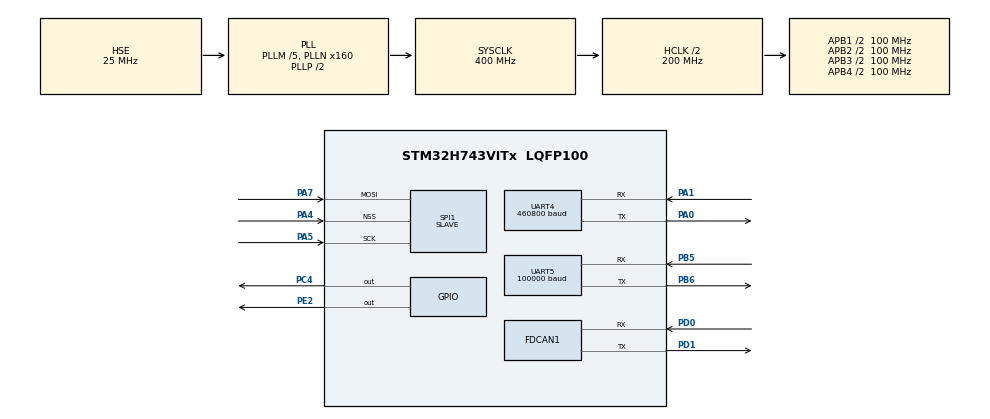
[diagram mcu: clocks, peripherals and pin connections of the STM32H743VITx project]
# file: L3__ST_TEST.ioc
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CORTEX_M7.AccessPermission_Spec=MPU_REGION_FULL_ACCESS
CORTEX_M7.BaseAddress_Spec=0x24000000
CORTEX_M7.CPU_DCache=Enabled
CORTEX_M7.CPU_ICache=Enabled
CORTEX_M7.IsShareable_Spec=MPU_ACCESS_NOT_SHAREABLE
CORTEX_M7.Size_Spec=MPU_REGION_SIZE_512KB
CORTEX_M7.SubRegionDisable_Spec=0x00
CORTEX_M7.TypeExtField_Spec=MPU_TEX_LEVEL1
CORTEX_M7.default_mode_Activation=1
Dma.Request0=SPI1_RX
Dma.Request1=UART4_RX
Dma.Request2=UART4_TX
Dma.Request3=UART5_RX
Dma.SPI1_RX.0.Direction=DMA_PERIPH_TO_MEMORY
Dma.SPI1_RX.0.EventEnable=DISABLE
Dma.SPI1_RX.0.FIFOMode=DMA_FIFOMODE_DISABLE
Dma.SPI1_RX.0.Instance=DMA2_Stream0
Dma.SPI1_RX.0.MemDataAlignment=DMA_MDATAALIGN_BYTE
Dma.SPI1_RX.0.MemInc=DMA_MINC_ENABLE
Dma.SPI1_RX.0.Mode=DMA_NORMAL
Dma.SPI1_RX.0.PeriphDataAlignment=DMA_PDATAALIGN_BYTE
Dma.SPI1_RX.0.PeriphInc=DMA_PINC_DISABLE
Dma.SPI1_RX.0.Polarity=HAL_DMAMUX_REQ_GEN_RISING
Dma.SPI1_RX.0.Priority=DMA_PRIORITY_VERY_HIGH
Dma.SPI1_RX.0.RequestNumber=1
Dma.SPI1_RX.0.SignalID=NONE
Dma.SPI1_RX.0.SyncEnable=DISABLE
Dma.SPI1_RX.0.SyncPolarity=HAL_DMAMUX_SYNC_NO_EVENT
Dma.SPI1_RX.0.SyncRequestNumber=1
Dma.SPI1_RX.0.SyncSignalID=NONE
Dma.UART4_RX.1.Direction=DMA_PERIPH_TO_MEMORY
Dma.UART4_RX.1.EventEnable=DISABLE
Dma.UART4_RX.1.FIFOMode=DMA_FIFOMODE_DISABLE
Dma.UART4_RX.1.Instance=DMA1_Stream0
Dma.UART4_RX.1.MemDataAlignment=DMA_MDATAALIGN_BYTE
Dma.UART4_RX.1.MemInc=DMA_MINC_ENABLE
Dma.UART4_RX.1.Mode=DMA_NORMAL
Dma.UART4_RX.1.PeriphDataAlignment=DMA_PDATAALIGN_BYTE
Dma.UART4_RX.1.PeriphInc=DMA_PINC_DISABLE
Dma.UART4_RX.1.Polarity=HAL_DMAMUX_REQ_GEN_RISING
Dma.UART4_RX.1.Priority=DMA_PRIORITY_LOW
Dma.UART4_RX.1.RequestNumber=1
Dma.UART4_RX.1.SignalID=NONE
Dma.UART4_RX.1.SyncEnable=DISABLE
Dma.UART4_RX.1.SyncPolarity=HAL_DMAMUX_SYNC_NO_EVENT
Dma.UART4_RX.1.SyncRequestNumber=1
Dma.UART4_RX.1.SyncSignalID=NONE
Dma.UART4_TX.2.Direction=DMA_MEMORY_TO_PERIPH
Dma.UART4_TX.2.EventEnable=DISABLE
Dma.UART4_TX.2.FIFOMode=DMA_FIFOMODE_DISABLE
Dma.UART4_TX.2.Instance=DMA1_Stream1
Dma.UART4_TX.2.MemDataAlignment=DMA_MDATAALIGN_BYTE
Dma.UART4_TX.2.MemInc=DMA_MINC_ENABLE
Dma.UART4_TX.2.Mode=DMA_NORMAL
Dma.UART4_TX.2.PeriphDataAlignment=DMA_PDATAALIGN_BYTE
Dma.UART4_TX.2.PeriphInc=DMA_PINC_DISABLE
Dma.UART4_TX.2.Polarity=HAL_DMAMUX_REQ_GEN_RISING
Dma.UART4_TX.2.Priority=DMA_PRIORITY_LOW
Dma.UART4_TX.2.RequestNumber=1
Dma.UART4_TX.2.SignalID=NONE
Dma.UART4_TX.2.SyncEnable=DISABLE
Dma.UART4_TX.2.SyncPolarity=HAL_DMAMUX_SYNC_NO_EVENT
Dma.UART4_TX.2.SyncRequestNumber=1
Dma.UART4_TX.2.SyncSignalID=NONE
Dma.UART5_RX.3.Direction=DMA_PERIPH_TO_MEMORY
Dma.UART5_RX.3.EventEnable=DISABLE
Dma.UART5_RX.3.FIFOMode=DMA_FIFOMODE_DISABLE
Dma.UART5_RX.3.Instance=DMA1_Stream2
Dma.UART5_RX.3.MemDataAlignment=DMA_MDATAALIGN_BYTE
Dma.UART5_RX.3.MemInc=DMA_MINC_ENABLE
Dma.UART5_RX.3.Mode=DMA_NORMAL
Dma.UART5_RX.3.PeriphDataAlignment=DMA_PDATAALIGN_BYTE
Dma.UART5_RX.3.PeriphInc=DMA_PINC_DISABLE
Dma.UART5_RX.3.Polarity=HAL_DMAMUX_REQ_GEN_RISING
Dma.UART5_RX.3.Priority=DMA_PRIORITY_LOW
Dma.UART5_RX.3.RequestNumber=1
Dma.UART5_RX.3.SignalID=NONE
Dma.UART5_RX.3.SyncEnable=DISABLE
Dma.UART5_RX.3.SyncPolarity=HAL_DMAMUX_SYNC_NO_EVENT
Dma.UART5_RX.3.SyncRequestNumber=1
Dma.UART5_RX.3.SyncSignalID=NONE
FDCAN1.AutoRetransmission=ENABLE
FDCAN1.CalculateBaudRateNominal=250000
FDCAN1.CalculateTimeBitNominal=4000
FDCAN1.CalculateTimeQuantumNominal=100.0
FDCAN1.DataPrescaler=10
FDCAN1.DataSyncJumpWidth=8
FDCAN1.DataTimeSeg1=31
FDCAN1.DataTimeSeg2=8
FDCAN1.NominalPrescaler=10
FDCAN1.NominalSyncJumpWidth=8
FDCAN1.NominalTimeSeg1=31
FDCAN1.NominalTimeSeg2=8
FDCAN1.ProtocolException=ENABLE
FDCAN1.RxFifo0ElmtsNbr=1
FDCAN1.StdFiltersNbr=1
FDCAN1.TxBuffersNbr=1
FDCAN1.TxEventsNbr=16
FDCAN1.TxFifoQueueElmtsNbr=1
FREERTOS.BinarySemaphores01=APP_Info_Submit_Semp,Dynamic,NULL;GPS_rec_exec_semp,Dynamic,NULL
FREERTOS.CountingSemaphores01=SBUS_RUN_Semp,15,Dynamic,NULL;CAN_send_semp,15,Dynamic,NULL
FREERTOS.Events01=Device_Run_status_event,Dynamic,NULL;Device_unusual_status_event,Dynamic,NULL
FREERTOS.INCLUDE_xEventGroupSetBitFromISR=1
FREERTOS.Queues01=uart5_recv_semp_queue,30,uint16_t,0,Dynamic,NULL,NULL;uart4_send_semp_queue,15,uint16_t,0,Dynamic,NULL,NULL;uart4_recv_semp_queue,15,uint16_t,0,Dynamic,NULL,NULL;HTTP_REQUEST_queue,16,uint16_t,0,Dynamic,NULL,NULL;VCU_send_semp_queue,15,uint16_t,0,Dynamic,NULL,NULL;SPI1_recv_semp_queue,15,uint16_t,0,Dynamic,NULL,NULL
FREERTOS.Tasks01=defaultTask,8,128,StartDefaultTask,Default,NULL,Dynamic,NULL,NULL;Power_Check,8,128,Power_Check_task,Default,NULL,Dynamic,NULL,NULL;GPS_REC,24,128,GPS_REC_task,Default,NULL,Dynamic,NULL,NULL;SBUS_Parse,10,128,SBUS_Parse_task,Default,NULL,Dynamic,NULL,NULL;EC600U_REC,16,512,EC600U_REC_task,Default,NULL,Dynamic,NULL,NULL;HTTP_REQUEST,24,300,HTTP_REQUEST_task,Default,NULL,Dynamic,NULL,NULL;APP_Info_Submit,9,512,APP_Info_Submit_task,Default,NULL,Dynamic,NULL,NULL;Device_Run,9,1024,Device_Run_task,Default,NULL,Dynamic,NULL,NULL;Device_unusual,48,128,Device_unusual_task,Default,NULL,Dynamic,NULL,NULL;EC600U_SEND,8,128,EC600U_SEND_task,Default,NULL,Dynamic,NULL,NULL;VCU_send,8,128,VCU_send_task,Default,NULL,Dynamic,NULL,NULL
FREERTOS.configTOTAL_HEAP_SIZE=25600
Mcu.Family=STM32H7
Mcu.Name=STM32H743VITx
Mcu.Package=LQFP100
NVIC.DMA1_Stream0_IRQn=true\:6\:0\:true\:false\:true\:true\:false\:true\:true
NVIC.DMA1_Stream1_IRQn=true\:6\:0\:true\:false\:true\:true\:false\:true\:true
NVIC.DMA1_Stream2_IRQn=true\:6\:0\:true\:false\:true\:true\:false\:true\:true
NVIC.DMA2_Stream0_IRQn=true\:5\:0\:false\:false\:true\:true\:false\:true\:true
NVIC.FDCAN1_IT0_IRQn=true\:10\:0\:true\:false\:true\:true\:true\:true\:true
NVIC.PriorityGroup=NVIC_PRIORITYGROUP_4
NVIC.SPI1_IRQn=true\:5\:0\:false\:false\:true\:true\:false\:true\:true
NVIC.TIM6_DAC_IRQn=true\:14\:0\:true\:false\:true\:true\:true\:true\:true
NVIC.TIM7_IRQn=true\:15\:0\:false\:false\:true\:false\:false\:true\:true
NVIC.TimeBase=TIM7_IRQn
NVIC.TimeBaseIP=TIM7
NVIC.UART4_IRQn=true\:8\:0\:true\:false\:true\:true\:true\:true\:true
NVIC.UART5_IRQn=true\:6\:0\:true\:false\:true\:true\:true\:true\:true
PA0.Mode=Asynchronous
PA0.Signal=UART4_TX
PA1.Mode=Asynchronous
PA1.Signal=UART4_RX
PA13\ (JTMS/SWDIO).Mode=Serial_Wire
PA13\ (JTMS/SWDIO).Signal=DEBUG_JTMS-SWDIO
PA14\ (JTCK/SWCLK).Mode=Serial_Wire
PA14\ (JTCK/SWCLK).Signal=DEBUG_JTCK-SWCLK
PA4.Mode=NSS_Signal_Hard_Input
PA4.Signal=SPI1_NSS
PA5.Mode=RX_Only_Simplex_Unidirect_Slave
PA5.Signal=SPI1_SCK
PA7.Mode=RX_Only_Simplex_Unidirect_Slave
PA7.Signal=SPI1_MOSI
PB5.Mode=Asynchronous
PB5.Signal=UART5_RX
PB6.Mode=Asynchronous
PB6.Signal=UART5_TX
PC14-OSC32_IN\ (OSC32_IN).Mode=LSE-External-Oscillator
PC14-OSC32_IN\ (OSC32_IN).Signal=RCC_OSC32_IN
PC15-OSC32_OUT\ (OSC32_OUT).Mode=LSE-External-Oscillator
PC15-OSC32_OUT\ (OSC32_OUT).Signal=RCC_OSC32_OUT
PC4.Signal=GPIO_Output
PD0.Mode=FDCAN_Activate
PD0.Signal=FDCAN1_RX
PD1.Mode=FDCAN_Activate
PD1.Signal=FDCAN1_TX
PE2.Signal=GPIO_Output
PH0-OSC_IN\ (PH0).Mode=HSE-External-Oscillator
PH0-OSC_IN\ (PH0).Signal=RCC_OSC_IN
PH1-OSC_OUT\ (PH1).Mode=HSE-External-Oscillator
PH1-OSC_OUT\ (PH1).Signal=RCC_OSC_OUT
ProjectManager.HeapSize=0x200
ProjectManager.StackSize=0x400
ProjectManager.TargetToolchain=MDK-ARM V5.32
RCC.ADCFreq_Value=50390625
RCC.APB1Freq_Value=100000000
RCC.APB2Freq_Value=100000000
RCC.APB3Freq_Value=100000000
RCC.APB4Freq_Value=100000000
RCC.CortexFreq_Value=400000000
RCC.D1PPRE=RCC_APB3_DIV2
RCC.D2PPRE1=RCC_APB1_DIV2
RCC.D2PPRE2=RCC_APB2_DIV2
RCC.D3PPRE=RCC_APB4_DIV2
RCC.DIVM1=5
RCC.DIVN1=160
RCC.DIVQ1=8
RCC.HCLKFreq_Value=200000000
RCC.HPRE=RCC_HCLK_DIV2
RCC.PLLSourceVirtual=RCC_PLLSOURCE_HSE
RCC.SYSCLKFreq_VALUE=400000000
RCC.SYSCLKSource=RCC_SYSCLKSOURCE_PLLCLK
RCC.USBFreq_Value=100000000
SPI1.DataSize=SPI_DATASIZE_8BIT
SPI1.Direction=SPI_DIRECTION_2LINES_RXONLY
SPI1.FifoThreshold=SPI_FIFO_THRESHOLD_16DATA
SPI1.Mode=SPI_MODE_SLAVE
SPI1.VirtualNSS=VM_NSSHARD
SPI1.VirtualType=VM_SLAVE
TIM6.Period=5000-1
TIM6.Prescaler=40000-1
UART4.BaudRate=460800
UART5.BaudRate=100000
UART5.Mode=MODE_RX
UART5.Parity=PARITY_EVEN
UART5.RxPinLevelInvertParam=UART_ADVFEATURE_RXINV_ENABLE
UART5.StopBits=UART_STOPBITS_2
UART5.WordLength=WORDLENGTH_9B
VP_FREERTOS_VS_CMSIS_V2.Mode=CMSIS_V2
VP_SYS_VS_tim7.Mode=TIM7
VP_TIM6_VS_ClockSourceINT.Mode=Enable_Timer
board=custom

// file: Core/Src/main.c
/* USER CODE BEGIN Header */
/**
  ******************************************************************************
  * @file           : main.c
  * @brief          : Main program body
  ******************************************************************************
  * @attention
  *
  * Copyright (c) 2024 STMicroelectronics.
  * All rights reserved.
  *
  * This software is licensed under terms that can be found in the LICENSE file
  * in the root directory of this software component.
  * If no LICENSE file comes with this software, it is provided AS-IS.
  *
  ******************************************************************************
  */
/* USER CODE END Header */
#include "main.h"
#include "cmsis_os.h"
#include "dma.h"
#include "fdcan.h"
#include "spi.h"
#include "tim.h"
#include "usart.h"
#include "gpio.h"

/* USER CODE BEGIN Includes */
#include "EventRecorder.h"

#include "deal_string.h"
#include "WGS84ToAngle.h"
/* USER CODE END Includes */

/* USER CODE BEGIN PV */
extern osSemaphoreId_t APP_Info_Submit_SempHandle;
/* USER CODE END PV */

void SystemClock_Config(void);
static void MPU_Config(void);
void MX_FREERTOS_Init(void);

int main(void)
{

  /* MPU Configuration--------------------------------------------------------*/
  MPU_Config();
/* Enable the CPU Cache */

  /* Enable I-Cache---------------------------------------------------------*/
  SCB_EnableICache();

  /* Enable D-Cache---------------------------------------------------------*/
  SCB_EnableDCache();

  /* MCU Configuration--------------------------------------------------------*/

  /* Reset of all peripherals, Initializes the Flash interface and the Systick. */
  HAL_Init();

  /* USER CODE BEGIN Init */
		/*初始化EventRecoder*/
	EventRecorderInitialize(EventRecordAll, 1U);
	EventRecorderStart();

	/*初始化cjson的内存分配函数 使用json一定要初始化*/
	cJSON_InitHooks(&my_cJSON_Hooks);

		/*初始化geidesic库系数*/
	geod_init(&g, wgs84_a, wgs84_f);

  /* USER CODE END Init */

  /* Configure the system clock */
  SystemClock_Config();

  /* Initialize all configured peripherals */
  MX_GPIO_Init();
  MX_DMA_Init();
  MX_FDCAN1_Init();
  MX_SPI1_Init();
  MX_TIM6_Init();
  MX_UART4_Init();
  MX_UART5_Init();
  /* USER CODE BEGIN 2 */
printf("初始化完成\r\n");
  /* USER CODE END 2 */

  /* Init scheduler */
  osKernelInitialize();

  /* Call init function for freertos objects (in freertos.c) */
  MX_FREERTOS_Init();

  /* Start scheduler */
  osKernelStart();

  /* We should never get here as control is now taken by the scheduler */
  /* Infinite loop */
  while (1)
  {

  }
}

void SystemClock_Config(void)
{
  RCC_OscInitTypeDef RCC_OscInitStruct = {0};
  RCC_ClkInitTypeDef RCC_ClkInitStruct = {0};

  /** Supply configuration update enable
  */
  HAL_PWREx_ConfigSupply(PWR_LDO_SUPPLY);

  /** Configure the main internal regulator output voltage
  */
  __HAL_PWR_VOLTAGESCALING_CONFIG(PWR_REGULATOR_VOLTAGE_SCALE1);

  while(!__HAL_PWR_GET_FLAG(PWR_FLAG_VOSRDY)) {}

  /** Initializes the RCC Oscillators according to the specified parameters
  * in the RCC_OscInitTypeDef structure.
  */
  RCC_OscInitStruct.OscillatorType = RCC_OSCILLATORTYPE_HSE;
  RCC_OscInitStruct.HSEState = RCC_HSE_ON;
  RCC_OscInitStruct.PLL.PLLState = RCC_PLL_ON;
  RCC_OscInitStruct.PLL.PLLSource = RCC_PLLSOURCE_HSE;
  RCC_OscInitStruct.PLL.PLLM = 5;
  RCC_OscInitStruct.PLL.PLLN = 160;
  RCC_OscInitStruct.PLL.PLLP = 2;
  RCC_OscInitStruct.PLL.PLLQ = 8;
  RCC_OscInitStruct.PLL.PLLR = 2;
  RCC_OscInitStruct.PLL.PLLRGE = RCC_PLL1VCIRANGE_2;
  RCC_OscInitStruct.PLL.PLLVCOSEL = RCC_PLL1VCOWIDE;
  RCC_OscInitStruct.PLL.PLLFRACN = 0;
  if (HAL_RCC_OscConfig(&RCC_OscInitStruct) != HAL_OK)
  {
    Error_Handler();
  }

  /** Initializes the CPU, AHB and APB buses clocks
  */
  RCC_ClkInitStruct.ClockType = RCC_CLOCKTYPE_HCLK|RCC_CLOCKTYPE_SYSCLK
                              |RCC_CLOCKTYPE_PCLK1|RCC_CLOCKTYPE_PCLK2
                              |RCC_CLOCKTYPE_D3PCLK1|RCC_CLOCKTYPE_D1PCLK1;
  RCC_ClkInitStruct.SYSCLKSource = RCC_SYSCLKSOURCE_PLLCLK;
  RCC_ClkInitStruct.SYSCLKDivider = RCC_SYSCLK_DIV1;
  RCC_ClkInitStruct.AHBCLKDivider = RCC_HCLK_DIV2;
  RCC_ClkInitStruct.APB3CLKDivider = RCC_APB3_DIV2;
  RCC_ClkInitStruct.APB1CLKDivider = RCC_APB1_DIV2;
  RCC_ClkInitStruct.APB2CLKDivider = RCC_APB2_DIV2;
  RCC_ClkInitStruct.APB4CLKDivider = RCC_APB4_DIV2;

  if (HAL_RCC_ClockConfig(&RCC_ClkInitStruct, FLASH_LATENCY_2) != HAL_OK)
  {
    Error_Handler();
  }
}

/* MPU Configuration */

void MPU_Config(void)
{
  MPU_Region_InitTypeDef MPU_InitStruct = {0};

  /* Disables the MPU */
  HAL_MPU_Disable();

  /** Initializes and configures the Region and the memory to be protected
  */
  MPU_InitStruct.Enable = MPU_REGION_ENABLE;
  MPU_InitStruct.Number = MPU_REGION_NUMBER0;
  MPU_InitStruct.BaseAddress = 0x24000000;
  MPU_InitStruct.Size = MPU_REGION_SIZE_512KB;
  MPU_InitStruct.SubRegionDisable = 0x00;
  MPU_InitStruct.TypeExtField = MPU_TEX_LEVEL1;
  MPU_InitStruct.AccessPermission = MPU_REGION_FULL_ACCESS;
  MPU_InitStruct.DisableExec = MPU_INSTRUCTION_ACCESS_DISABLE;
  MPU_InitStruct.IsShareable = MPU_ACCESS_NOT_SHAREABLE;
  MPU_InitStruct.IsCacheable = MPU_ACCESS_NOT_CACHEABLE;
  MPU_InitStruct.IsBufferable = MPU_ACCESS_NOT_BUFFERABLE;

  HAL_MPU_ConfigRegion(&MPU_InitStruct);
  /* Enables the MPU */
  HAL_MPU_Enable(MPU_PRIVILEGED_DEFAULT);

}

void HAL_TIM_PeriodElapsedCallback(TIM_HandleTypeDef *htim)
{
  if (htim->Instance == TIM7) {
    HAL_IncTick();
  }
  /* USER CODE BEGIN Callback 1 */
  if (htim->Instance == TIM6) {
		if(osSemaphoreGetCount (APP_Info_Submit_SempHandle)<1) osSemaphoreRelease(APP_Info_Submit_SempHandle);
	}
  /* USER CODE END Callback 1 */
}

void Error_Handler(void)
{
  __disable_irq();
  while (1)
  {
  }
}

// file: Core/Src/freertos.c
/* USER CODE BEGIN Header */
/**
  ******************************************************************************
  * File Name          : freertos.c
  * Description        : Code for freertos applications
  ******************************************************************************
  * @attention
  *
  * Copyright (c) 2024 STMicroelectronics.
  * All rights reserved.
  *
  * This software is licensed under terms that can be found in the LICENSE file
  * in the root directory of this software component.
  * If no LICENSE file comes with this software, it is provided AS-IS.
  *
  ******************************************************************************
  */
/* USER CODE END Header */

#include "FreeRTOS.h"
#include "task.h"
#include "main.h"
#include "cmsis_os.h"

/* USER CODE BEGIN Includes */
#include "usart.h"
#include "fdcan.h"
#include "tim.h"
#include "spi.h"

#include "sbus.h"
#include "nav.h"
#include "motor.h"
#include "uart_data.h"
#include "change_status.h"

extern uint8_t power_count; //用于EC600U上电记次数使用
/* USER CODE END Includes */

/* USER CODE BEGIN PTD */

cJSON * EC600U_MQTT_SEND_STATUS;

uint32_t GPS_REC_block_time    = portMAX_DELAY;
uint32_t EC600U_REC_block_time = portMAX_DELAY;
uint32_t APP_Info_Submit_time  = portMAX_DELAY;
uint32_t Device_unusual_time   = portMAX_DELAY;

/* USER CODE END PTD */

/* Definitions for defaultTask */
osThreadId_t defaultTaskHandle;
const osThreadAttr_t defaultTask_attributes = {
  .name = "defaultTask",
  .stack_size = 128 * 4,
  .priority = (osPriority_t) osPriorityLow,
};
/* Definitions for Power_Check */
osThreadId_t Power_CheckHandle;
const osThreadAttr_t Power_Check_attributes = {
  .name = "Power_Check",
  .stack_size = 128 * 4,
  .priority = (osPriority_t) osPriorityLow6,
};
/* Definitions for GPS_REC */
osThreadId_t GPS_RECHandle;
const osThreadAttr_t GPS_REC_attributes = {
  .name = "GPS_REC",
  .stack_size = 128 * 4,
  .priority = (osPriority_t) osPriorityNormal1,
};
/* Definitions for SBUS_Parse */
osThreadId_t SBUS_ParseHandle;
const osThreadAttr_t SBUS_Parse_attributes = {
  .name = "SBUS_Parse",
  .stack_size = 128 * 4,
  .priority = (osPriority_t) osPriorityNormal,
};
/* Definitions for EC600U_REC */
osThreadId_t EC600U_RECHandle;
const osThreadAttr_t EC600U_REC_attributes = {
  .name = "EC600U_REC",
  .stack_size = 600 * 4,
  .priority = (osPriority_t) osPriorityNormal1,
};
/* Definitions for HTTP_REQUEST */
osThreadId_t HTTP_REQUESTHandle;
const osThreadAttr_t HTTP_REQUEST_attributes = {
  .name = "HTTP_REQUEST",
  .stack_size = 400 * 4,
  .priority = (osPriority_t) osPriorityBelowNormal,
};
/* Definitions for APP_Info_Submit */
osThreadId_t APP_Info_SubmitHandle;
const osThreadAttr_t APP_Info_Submit_attributes = {
  .name = "APP_Info_Submit",
  .stack_size = 512 * 4,
  .priority = (osPriority_t) osPriorityLow7,
};
/* Definitions for Device_Run */
osThreadId_t Device_RunHandle;
const osThreadAttr_t Device_Run_attributes = {
  .name = "Device_Run",
  .stack_size = 1024 * 4,
  .priority = (osPriority_t) osPriorityBelowNormal1,
};
/* Definitions for Device_unusual */
osThreadId_t Device_unusualHandle;
const osThreadAttr_t Device_unusual_attributes = {
  .name = "Device_unusual",
  .stack_size = 128 * 4,
  .priority = (osPriority_t) osPriorityRealtime,
};
/* Definitions for EC600U_SEND */
osThreadId_t EC600U_SENDHandle;
const osThreadAttr_t EC600U_SEND_attributes = {
  .name = "EC600U_SEND",
  .stack_size = 128 * 4,
  .priority = (osPriority_t) osPriorityLow4,
};
/* Definitions for VCU_send */
osThreadId_t VCU_sendHandle;
const osThreadAttr_t VCU_send_attributes = {
  .name = "VCU_send",
  .stack_size = 128 * 4,
  .priority = (osPriority_t) osPriorityLow7,
};
/* Definitions for uart5_recv_semp_queue */
osMessageQueueId_t uart5_recv_semp_queueHandle;
const osMessageQueueAttr_t uart5_recv_semp_queue_attributes = {
  .name = "uart5_recv_semp_queue"
};
/* Definitions for uart4_send_semp_queue */
osMessageQueueId_t uart4_send_semp_queueHandle;
const osMessageQueueAttr_t uart4_send_semp_queue_attributes = {
  .name = "uart4_send_semp_queue"
};
/* Definitions for uart4_recv_semp_queue */
osMessageQueueId_t uart4_recv_semp_queueHandle;
const osMessageQueueAttr_t uart4_recv_semp_queue_attributes = {
  .name = "uart4_recv_semp_queue"
};
/* Definitions for HTTP_REQUEST_queue */
osMessageQueueId_t HTTP_REQUEST_queueHandle;
const osMessageQueueAttr_t HTTP_REQUEST_queue_attributes = {
  .name = "HTTP_REQUEST_queue"
};
/* Definitions for VCU_send_semp_queue */
osMessageQueueId_t VCU_send_semp_queueHandle;
const osMessageQueueAttr_t VCU_send_semp_queue_attributes = {
  .name = "VCU_send_semp_queue"
};
/* Definitions for SPI1_recv_semp_queue */
osMessageQueueId_t SPI1_recv_semp_queueHandle;
const osMessageQueueAttr_t SPI1_recv_semp_queue_attributes = {
  .name = "SPI1_recv_semp_queue"
};
/* Definitions for APP_Info_Submit_Semp */
osSemaphoreId_t APP_Info_Submit_SempHandle;
const osSemaphoreAttr_t APP_Info_Submit_Semp_attributes = {
  .name = "APP_Info_Submit_Semp"
};
/* Definitions for GPS_rec_exec_semp */
osSemaphoreId_t GPS_rec_exec_sempHandle;
const osSemaphoreAttr_t GPS_rec_exec_semp_attributes = {
  .name = "GPS_rec_exec_semp"
};
/* Definitions for SBUS_RUN_Semp */
osSemaphoreId_t SBUS_RUN_SempHandle;
const osSemaphoreAttr_t SBUS_RUN_Semp_attributes = {
  .name = "SBUS_RUN_Semp"
};
/* Definitions for CAN_send_semp */
osSemaphoreId_t CAN_send_sempHandle;
const osSemaphoreAttr_t CAN_send_semp_attributes = {
  .name = "CAN_send_semp"
};
/* Definitions for Device_Run_status_event */
osEventFlagsId_t Device_Run_status_eventHandle;
const osEventFlagsAttr_t Device_Run_status_event_attributes = {
  .name = "Device_Run_status_event"
};
/* Definitions for Device_unusual_status_event */
osEventFlagsId_t Device_unusual_status_eventHandle;
const osEventFlagsAttr_t Device_unusual_status_event_attributes = {
  .name = "Device_unusual_status_event"
};

void StartDefaultTask(void *argument);
void Power_Check_task(void *argument);
void GPS_REC_task(void *argument);
void SBUS_Parse_task(void *argument);
void EC600U_REC_task(void *argument);
void HTTP_REQUEST_task(void *argument);
void APP_Info_Submit_task(void *argument);
void Device_Run_task(void *argument);
void Device_unusual_task(void *argument);
void EC600U_SEND_task(void *argument);
void VCU_send_task(void *argument);

void MX_FREERTOS_Init(void); /* (MISRA C 2004 rule 8.1) */

void MX_FREERTOS_Init(void) {

  /* Create the semaphores(s) */
  /* creation of APP_Info_Submit_Semp */
  APP_Info_Submit_SempHandle = osSemaphoreNew(1, 0, &APP_Info_Submit_Semp_attributes);

  /* creation of GPS_rec_exec_semp */
  GPS_rec_exec_sempHandle = osSemaphoreNew(1, 0, &GPS_rec_exec_semp_attributes);

  /* creation of SBUS_RUN_Semp */
  SBUS_RUN_SempHandle = osSemaphoreNew(15, 0, &SBUS_RUN_Semp_attributes);

  /* creation of CAN_send_semp */
  CAN_send_sempHandle = osSemaphoreNew(15, 0, &CAN_send_semp_attributes);

  /* Create the queue(s) */
  /* creation of uart5_recv_semp_queue */
  uart5_recv_semp_queueHandle = osMessageQueueNew (30, sizeof(uint16_t), &uart5_recv_semp_queue_attributes);

  /* creation of uart4_send_semp_queue */
  uart4_send_semp_queueHandle = osMessageQueueNew (15, sizeof(uint16_t), &uart4_send_semp_queue_attributes);

  /* creation of uart4_recv_semp_queue */
  uart4_recv_semp_queueHandle = osMessageQueueNew (15, sizeof(uint16_t), &uart4_recv_semp_queue_attributes);

  /* creation of HTTP_REQUEST_queue */
  HTTP_REQUEST_queueHandle = osMessageQueueNew (16, sizeof(uint16_t), &HTTP_REQUEST_queue_attributes);

  /* creation of VCU_send_semp_queue */
  VCU_send_semp_queueHandle = osMessageQueueNew (15, sizeof(uint16_t), &VCU_send_semp_queue_attributes);

  /* creation of SPI1_recv_semp_queue */
  SPI1_recv_semp_queueHandle = osMessageQueueNew (15, sizeof(uint16_t), &SPI1_recv_semp_queue_attributes);

  /* Create the thread(s) */
  /* creation of defaultTask */
  defaultTaskHandle = osThreadNew(StartDefaultTask, NULL, &defaultTask_attributes);

  /* creation of Power_Check */
  Power_CheckHandle = osThreadNew(Power_Check_task, NULL, &Power_Check_attributes);

  /* creation of GPS_REC */
  GPS_RECHandle = osThreadNew(GPS_REC_task, NULL, &GPS_REC_attributes);

  /* creation of SBUS_Parse */
  SBUS_ParseHandle = osThreadNew(SBUS_Parse_task, NULL, &SBUS_Parse_attributes);

  /* creation of EC600U_REC */
  EC600U_RECHandle = osThreadNew(EC600U_REC_task, NULL, &EC600U_REC_attributes);

  /* creation of HTTP_REQUEST */
  HTTP_REQUESTHandle = osThreadNew(HTTP_REQUEST_task, NULL, &HTTP_REQUEST_attributes);

  /* creation of APP_Info_Submit */
  APP_Info_SubmitHandle = osThreadNew(APP_Info_Submit_task, NULL, &APP_Info_Submit_attributes);

  /* creation of Device_Run */
  Device_RunHandle = osThreadNew(Device_Run_task, NULL, &Device_Run_attributes);

  /* creation of Device_unusual */
  Device_unusualHandle = osThreadNew(Device_unusual_task, NULL, &Device_unusual_attributes);

  /* creation of EC600U_SEND */
  EC600U_SENDHandle = osThreadNew(EC600U_SEND_task, NULL, &EC600U_SEND_attributes);

  /* creation of VCU_send */
  VCU_sendHandle = osThreadNew(VCU_send_task, NULL, &VCU_send_attributes);

  /* Create the event(s) */
  /* creation of Device_Run_status_event */
  Device_Run_status_eventHandle = osEventFlagsNew(&Device_Run_status_event_attributes);

  /* creation of Device_unusual_status_event */
  Device_unusual_status_eventHandle = osEventFlagsNew(&Device_unusual_status_event_attributes);

}

void StartDefaultTask(void *argument)
{
  /* USER CODE BEGIN StartDefaultTask */
//	uint32_t uxBits;
  /* Infinite loop */
  for(;;)
  {
//		uxBits = osEventFlagsWait(Device_Run_status_eventHandle,  BIT_1, osFlagsNoClear, portMAX_DELAY);

//		printf("run\r\n");
    osDelay(8000);
//		HTTP_updateRoute_Request();
  }
  /* USER CODE END StartDefaultTask */
}

void Power_Check_task(void *argument)
{
  /* USER CODE BEGIN Power_Check_task */
  /* Infinite loop */
  for(;;)
  {
		if(power_count == 0)
		{
			if(control_powerFlag == 1)
			{
				HAL_GPIO_WritePin(GPIOE,  GPIO_PIN_2, GPIO_PIN_SET);
				while(HAL_GPIO_ReadPin(GPIOE,  GPIO_PIN_2) != GPIO_PIN_SET);
				osDelay(8000);
				//开启串口空闲DMA空闲中断
				HAL_UARTEx_ReceiveToIdle_DMA(&huart4, UART4RxData[UART4_fifo.usRxWrite],UART4_Max_Rxbuf_size);
				HAL_SPI_Receive_DMA(&hspi1 , SPI1RxData[SPI1_fifo.usRxWrite] ,180 );
			  HAL_GPIO_WritePin(GPIOC,  GPIO_PIN_4, GPIO_PIN_SET);
				while(HAL_GPIO_ReadPin(GPIOC,  GPIO_PIN_4) != GPIO_PIN_SET);
			}
			else
			{
				HAL_GPIO_WritePin(GPIOC,  GPIO_PIN_4, GPIO_PIN_SET);
				while(HAL_GPIO_ReadPin(GPIOC,  GPIO_PIN_4) != GPIO_PIN_SET);
				osDelay(5000);
				HAL_GPIO_WritePin(GPIOC,  GPIO_PIN_4, GPIO_PIN_RESET);
				while(HAL_GPIO_ReadPin(GPIOC,  GPIO_PIN_4) != GPIO_PIN_RESET);
				HAL_GPIO_WritePin(GPIOE,  GPIO_PIN_2, GPIO_PIN_RESET);
				while(HAL_GPIO_ReadPin(GPIOE,  GPIO_PIN_2) != GPIO_PIN_RESET);
			}
			power_count++;
		}
    osDelay(100);
  }
  /* USER CODE END Power_Check_task */
}

void GPS_REC_task(void *argument)
{
  /* USER CODE BEGIN GPS_REC_task */
	osStatus_t err;
	uint32_t len = 0;

  /* Infinite loop */
  for(;;)
  {
		err = osMessageQueueGet (SPI1_recv_semp_queueHandle, &len, 0, GPS_REC_block_time); //调试阶段未使用，正式阶段将阻塞时间设置为1000
		if(err == osOK)
		{
			if(len != 0)
			{
//				printf("%s\r\n",SPI1RxData[SPI1_fifo.usRxRead]);

				SPI1_GPS_data(SPI1RxData[SPI1_fifo.usRxRead]);

				memset(SPI1RxData[SPI1_fifo.usRxRead],0,SPI1_Max_Rxbuf_size);
				if (++SPI1_fifo.usRxRead >= SPI1_fifo.usRxBufSize)
				{
					SPI1_fifo.usRxRead = 0;
				}
			}
			else  //说明只是为了来解除阻塞，以此判断是否超时
				printf("解除阻塞\r\n");
		}
		else
		{
//			if(Device_Poweron_status == Check_RTK || Device_Run_Status.Curstatus != Poweron)
//			{
				printf("接受RTK信息失败\r\n");
				HAL_TIM_Base_Stop_IT(&htim6);
				osEventFlagsClear(Device_Run_status_eventHandle,BIT_4);                //设置RTK消息丢失标志
				osEventFlagsClear(Device_Run_status_eventHandle,BIT_5);                //设置RTK消息丢失标志
				osEventFlagsSet(Device_unusual_status_eventHandle,BIT_2);              //触发异常
//			}
		}
    osDelay(1);
  }
  /* USER CODE END GPS_REC_task */
}

void SBUS_Parse_task(void *argument)
{
  /* USER CODE BEGIN SBUS_Parse_task */
	osStatus err;
	uint16_t Recv_Len;
	HAL_UARTEx_ReceiveToIdle_DMA(&huart5, UART5RxData[UART5_fifo.usRxWrite],UART5_Max_Rxbuf_size);
  /* Infinite loop */
  for(;;)
  {
		err = osMessageQueueGet (uart5_recv_semp_queueHandle, &Recv_Len, 0, 100);
		if(err == osOK)
		{
//			printf("%#x\r\n",UART5RxData[UART5_fifo.usRxRead][0]); //调试使用

			sbus_parse(UART5RxData[UART5_fifo.usRxRead],Recv_Len);

			memset(&UART5RxData[UART5_fifo.usRxRead],0,Recv_Len);
			if (++UART5_fifo.usRxRead >= UART5_fifo.usRxBufSize)
			{
				UART5_fifo.usRxRead = 0;
			}
		}
		else
		{
			SBUS_CH.Start = 0;
//			printf("SBUS信号丢失\r\n");
		}
		osDelay(1);
  }
  /* USER CODE END SBUS_Parse_task */
}

void EC600U_REC_task(void *argument)
{
  /* USER CODE BEGIN EC600U_REC_task */
		osStatus_t err;
	uint16_t Recv_Len;
	uint32_t BIT = 0;
  /* Infinite loop */
  for(;;)
  {
		err = osMessageQueueGet (uart4_recv_semp_queueHandle, &Recv_Len, 0, EC600U_REC_block_time);
		if(err == osOK)
		{
			if(Recv_Len != 0) //说明串口发送来的数据
			{
//				printf("%s\r\n",UART4RxData[UART4_fifo.usRxRead]);
				uart4_rec_data_apply(UART4RxData[UART4_fifo.usRxRead],Recv_Len);

				memset(UART4RxData[UART4_fifo.usRxRead],0,Recv_Len);
				if (++UART4_fifo.usRxRead >= UART4_fifo.usRxBufSize)
				{
					UART4_fifo.usRxRead = 0;
				}
			}
			else  //说明只是为了来解除阻塞，以此判断是否超时
				printf("解除阻塞\r\n");
		}
				else // 超时处理
		{
			printf("CHAOSHI");
			if(Device_Run_Status.Curstatus == Poweron) //开机过程回复超时
			{
				if(Device_Poweron_status == Check_poweron)
				{
					printf("4G模块上电失败");
					osEventFlagsClear(Device_Run_status_eventHandle,BIT_1);                //设置4G模块上电失败标志
					EC600U_REC_block_time = portMAX_DELAY;
				}
				else if(Device_Poweron_status == Check_Authen)
				{
					if((osEventFlagsGet(Device_Run_status_eventHandle) & BIT_3) != 0)    //网络好时请求HTTP超时，进行重复请求，网络不好时继续等待，等待网络良好时再进行操作
					{
						if(request_num <= 5)
						{
							printf("HTTP鉴权请求失败\r\n");
							BIT= BIT_0;
							osMessageQueuePut(HTTP_REQUEST_queueHandle, &BIT , 0 ,10);
							request_num ++;
						}
						else
						{
							printf("鉴权失败");
							osEventFlagsClear(Device_Run_status_eventHandle,BIT_3);                //设置鉴权失败标志
							EC600U_REC_block_time = portMAX_DELAY;
						}
					}
				}
				else if(Device_Poweron_status == Check_MQTT_APP)
				{
					printf("接受MQTT信息失败");
					osEventFlagsClear(Device_Run_status_eventHandle,BIT_6);                //设置RTK消息丢失标志
				}
			}
		}
    osDelay(1);
  }
  /* USER CODE END EC600U_REC_task */
}

void HTTP_REQUEST_task(void *argument)
{
  /* USER CODE BEGIN HTTP_REQUEST_task */
	uint32_t Device_Run_Bits;
	uint32_t uxBits = 0;
	osStatus_t err;
  /* Infinite loop */
  for(;;)
  {
		Device_Run_Bits = osEventFlagsWait(Device_Run_status_eventHandle,BIT_2,osFlagsNoClear, portMAX_DELAY);
		err = osMessageQueueGet (HTTP_REQUEST_queueHandle, &uxBits, 0, portMAX_DELAY);
		if(err == osOK)
		{
			if((Device_Run_Bits & BIT_2)  != 0)
			{
				switch(uxBits)
				{
					case BIT_0 : HTTP_Authen_Request();      break;    /*鉴权指令*/
					case BIT_1 : HTTP_jobStart_Request();    break;    /*开始作业指令*/
					case BIT_2 : HTTP_jobPause_Request();    break;    /*暂停作业指令*/
					case BIT_3 : HTTP_jobContinue_Request(); break;    /*继续作业指令*/
					case BIT_4 : HTTP_jobFinish_Request();   break;    /*任务完成指令*/
					case BIT_5 : HTTP_updateRoute_Request(); break;    /*获取分段航点指令*/
					case BIT_6 : HTTP_goToCharge_Request();  break;    /*获取充电桩位置指令*/
					default: break;
				}
			}
		}
    osDelay(1);
  }
  /* USER CODE END HTTP_REQUEST_task */
}

void APP_Info_Submit_task(void *argument)
{
  /* USER CODE BEGIN APP_Info_Submit_task */
	osStatus_t err;
	EC600U_MQTT_SEND_STATUS = StringToObject(DEVICE_MQTT_STATUS);
  /* Infinite loop */
  for(;;)
  {
		err = osSemaphoreAcquire (APP_Info_Submit_SempHandle, APP_Info_Submit_time);
		if(err == osOK)
		{
			if((osEventFlagsGet(Device_Run_status_eventHandle) & BIT_6) != 0)
			{
				APP_Info_Submit();
			}
		}
		else
		{
			APP_Info_Submit_time  = portMAX_DELAY;
			//刚开始接受到gps数据，不稳定，等待一段时间后再开启上传
			HAL_TIM_Base_Start_IT(&htim6);                             //MQTT_APP打开成功并接收到GPS数据，开启APP信息上报
		}
		osDelay(1);
  }
  /* USER CODE END APP_Info_Submit_task */
}

void Device_Run_task(void *argument)
{
  /* USER CODE BEGIN Device_Run_task */
	uint32_t uxBits;
	osStatus_t err;
	NAV_output_t NAV_output = {0};
	CAN_Msg_t    CAN_Msg = {0};
  /* Infinite loop */
  for(;;)
  {
    if(controlFlag == NALCont)
		{
			uxBits = osEventFlagsWait(Device_Run_status_eventHandle,  BIT_1 | BIT_3 | BIT_4 | BIT_5 | BIT_23,osFlagsWaitAll | osFlagsNoClear, 1000); //还有bit0暂时先不加入BIT_0 |  等待1s（暂时）打印不满足的条件，如果转换了sbus控制就转换模式
			if( (uxBits & ( BIT_1 | BIT_3 | BIT_4 | BIT_5 | BIT_23))  == ( BIT_1 | BIT_3 | BIT_4 | BIT_5 | BIT_23)) //是否满足启动的条件
			{
				if(Device_Run_Status.Curstatus == Job_Working || Device_Run_Status.Curstatus == Job_Return)                                                      //是否完成了可工作的准备
				{
					err = osSemaphoreAcquire (GPS_rec_exec_sempHandle, 100);
					if(err == osOK)
					{
						NAV_output = NAV_Control();
//					printf("左轮：%f,右轮：%f\r\n",NAV_output.LSpeed,NAV_output.RSpeed);
						CAN_Msg = Direct_Drive_motor(NAV_output.RSpeed,NAV_output.LSpeed);
						CAN1_send_data_apply(CAN_Msg.L_Msg);
						CAN1_send_data_apply(CAN_Msg.R_Msg);
						HAL_GPIO_TogglePin(GPIOB,GPIO_PIN_0);
//					osDelay(20);
					}
				}
			}
			else //长时间不满足条件
			{
				printf("自动导航条件不满足");
			}
		}
		else if(controlFlag == sbusCont)
		{
			err = osSemaphoreAcquire (SBUS_RUN_SempHandle, 1000);
			if(err == osOK)
			{
				CAN_Msg = Direct_Drive_motor(SBUS_CH.RSpeed,SBUS_CH.LSpeed);
				CAN1_send_data_apply(CAN_Msg.L_Msg);
				CAN1_send_data_apply(CAN_Msg.R_Msg);
			}
		}
		osDelay(1);
  }
  /* USER CODE END Device_Run_task */
}

void Device_unusual_task(void *argument)
{
  /* USER CODE BEGIN Device_unusual_task */
	uint32_t uxBits;
  /* Infinite loop */
  for(;;)
  {
		uxBits = osEventFlagsWait(Device_unusual_status_eventHandle, BIT_0 | BIT_1 ,osFlagsWaitAny, Device_unusual_time);
		if(uxBits == (uint32_t)osErrorTimeout) //如果超时 事件标志位超时得到的为-2，但是为uint32格式 实际为0xFFFFFFFE
		{
			osEventFlagsSet(Device_Run_status_eventHandle,BIT_23);                //转变为启动
		}
		else if( (uxBits & BIT_0)  != 0 )               //强制停止
		{
			osEventFlagsClear(Device_Run_status_eventHandle,BIT_23);                //不可启动
			HAL_GPIO_TogglePin(GPIOB,GPIO_PIN_0);
			osDelay(1000);
		}
		else if( (uxBits & BIT_1)  != 0 )          //状态变化
		{
			change_status_fun();
		}

		else if( (uxBits & BIT_2)  != 0 )          //RTK失去信号
		{
			osEventFlagsClear(Device_Run_status_eventHandle,BIT_23);                //不可启动
		}

    osDelay(1);
  }
  /* USER CODE END Device_unusual_task */
}

void EC600U_SEND_task(void *argument)
{
  /* USER CODE BEGIN EC600U_SEND_task */
	osStatus_t err;
	uint16_t Send_Len;
  /* Infinite loop */
  for(;;)
  {
		err = osMessageQueueGet (uart4_send_semp_queueHandle, &Send_Len, 0, portMAX_DELAY);
		if(err == osOK)
		{
			HAL_UART_Transmit_DMA(&huart4,UART4TxData[UART4_fifo.usTxRead],Send_Len );
			if (++UART4_fifo.usTxRead >= UART4_fifo.usTxBufSize)
			{
				UART4_fifo.usTxRead = 0;
			}
			osDelay(100);
		}
		 osDelay(1);
  }
  /* USER CODE END EC600U_SEND_task */
}

void VCU_send_task(void *argument)
{
  /* USER CODE BEGIN VCU_send_task */
	osStatus_t err;
	CAN_Msg_t Msg;
  /* Infinite loop */
  for(;;)
  {
		err = osSemaphoreAcquire (CAN_send_sempHandle, 50);
		if(err == osOK)
		{
			/* 发送信息 */
			can_SendPacket(CAN1TxData[CAN1_fifo.usTxRead],DRIVEID);
			memset(CAN1TxData[CAN1_fifo.usTxRead],0,8);
			if (++CAN1_fifo.usTxRead >= CAN1_fifo.usTxBufSize)
			{
				CAN1_fifo.usTxRead = 0;
			}
			osDelay(8);
		}
		else
		{
			Msg = Direct_Drive_motor(0, 0);
			can_SendPacket((uint8_t *)Msg.L_Msg,DRIVEID);
			osDelay(3);
			can_SendPacket((uint8_t *)Msg.R_Msg,DRIVEID);
		}
    osDelay(1);
  }
  /* USER CODE END VCU_send_task */
}
